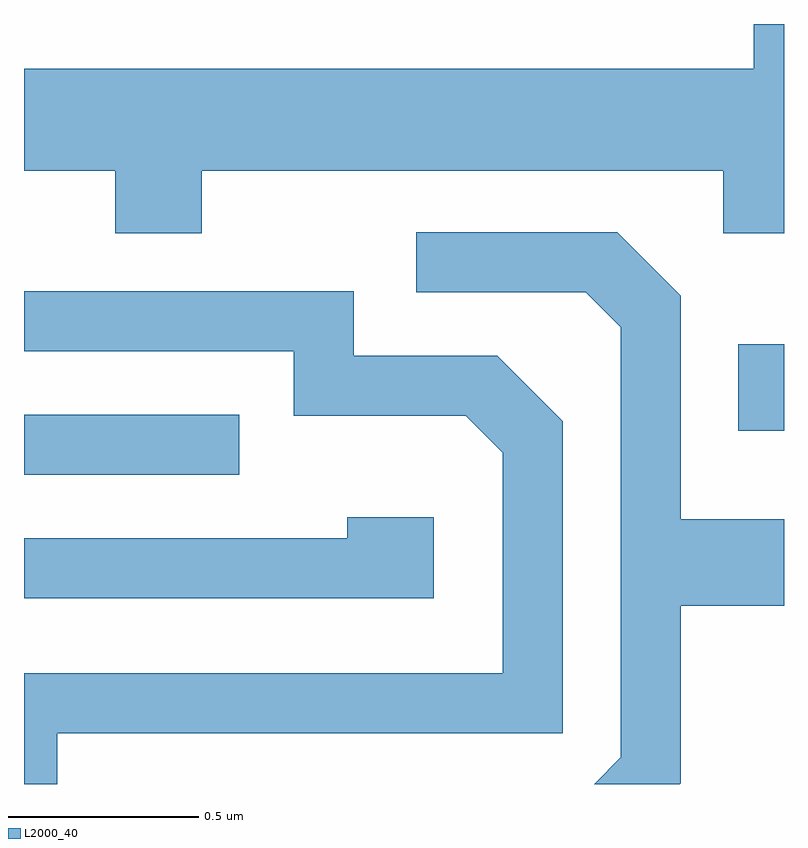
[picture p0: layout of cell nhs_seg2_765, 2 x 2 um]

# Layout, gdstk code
import gdstk
lib = gdstk.Library(unit=1e-6, precision=1e-09)
def R(c, l, rs):  # rectangles x0, y0, x1, y1
    for r in rs: c.add(gdstk.rectangle(r[:2], r[2:], *l))
def P(c, l, *ps):  # polygons
    for p in ps: c.add(gdstk.Polygon(p, *l))
L2000_40 = (2000, 40)

nhs_seg2_765 = lib.new_cell('nhs_seg2_765')
R(nhs_seg2_765, L2000_40, [(190.611,1058.616,191.178,1058.774), (192.491,1058.731,192.611,1058.959)])
P(nhs_seg2_765, L2000_40, [(191.079,1059.416),(192.451,1059.416),(192.451,1059.251),(192.611,1059.251),(192.611,1059.802),(192.531,1059.802),(192.531,1059.684),(190.611,1059.684),(190.611,1059.416),(190.851,1059.416),(190.851,1059.251),(191.079,1059.251)],
  [(192.339,1057.804),(192.339,1058.271),(192.611,1058.271),(192.611,1058.499),(192.339,1058.499),(192.339,1059.087),(192.172,1059.254),(191.643,1059.254),(191.643,1059.096),(192.089,1059.096),(192.181,1059.004),(192.181,1057.872),(192.112,1057.802),(192.337,1057.802)],
  [(190.699,1057.936),(192.029,1057.936),(192.029,1058.757),(191.857,1058.929),(191.479,1058.929),(191.479,1059.099),(190.611,1059.099),(190.611,1058.941),(191.321,1058.941),(191.321,1058.771),(191.774,1058.771),(191.871,1058.674),(191.871,1058.094),(190.611,1058.094),(190.611,1057.802),(190.699,1057.802)],
  [(191.689,1058.504),(191.461,1058.504),(191.461,1058.449),(190.611,1058.449),(190.611,1058.291),(191.689,1058.291)])

lib.write_gds('nhs_seg2_765.gds')
